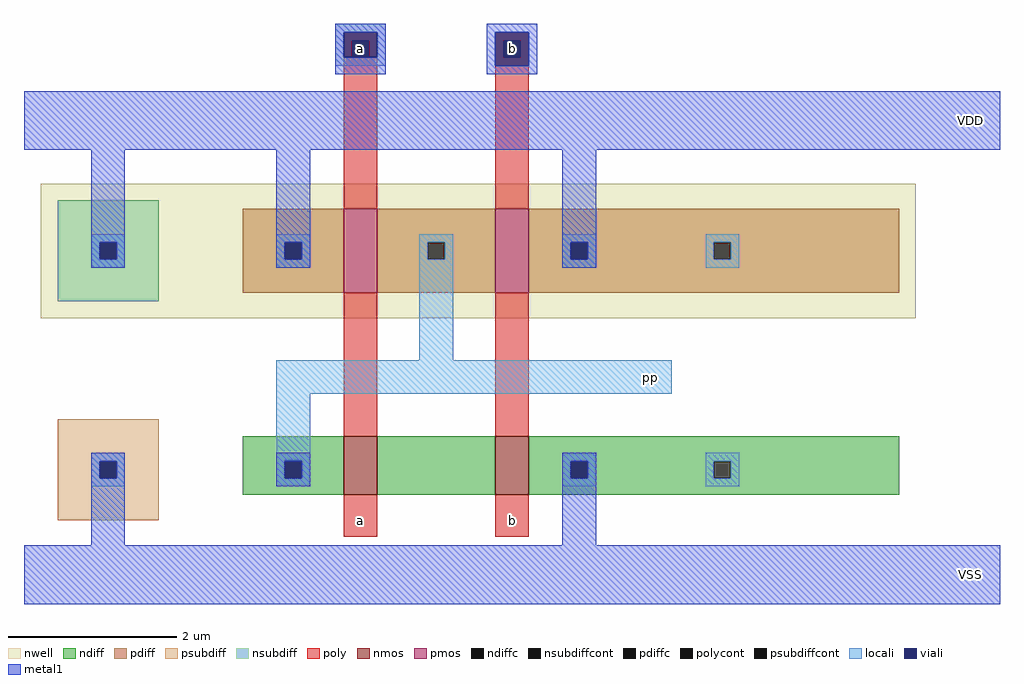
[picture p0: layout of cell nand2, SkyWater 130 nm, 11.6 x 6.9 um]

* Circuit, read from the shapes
.subckt nand2 VDD VSS a b
XM1 n1 a pp VSS sky130_fd_pr__nfet_01v8 w=0.7 l=0.4
XM2 VSS b n1 VSS sky130_fd_pr__nfet_01v8 w=0.7 l=0.4
XM3 pp a VDD VDD sky130_fd_pr__pfet_01v8 w=1 l=0.4
XM4 VDD b pp VDD sky130_fd_pr__pfet_01v8 w=1 l=0.4
.ends

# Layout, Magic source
magic
tech sky130A
<< nwell >>
rect -280 30 760 190
<< nmos >>
rect 80 -180 120 -110
rect 260 -180 300 -110
<< pmos >>
rect 80 60 120 160
rect 260 60 300 160
<< ndiff >>
rect -40 -139 80 -110
rect -40 -160 10 -139
rect 30 -160 80 -139
rect -40 -180 80 -160
rect 120 -180 260 -110
rect 300 -140 740 -110
rect 300 -160 350 -140
rect 370 -160 520 -140
rect 540 -160 740 -140
rect 300 -180 740 -160
<< pdiff >>
rect -40 120 80 160
rect -40 100 10 120
rect 30 100 80 120
rect -40 60 80 100
rect 120 120 260 160
rect 120 100 180 120
rect 200 100 260 120
rect 120 60 260 100
rect 300 120 740 160
rect 300 100 350 120
rect 370 100 520 120
rect 540 100 740 120
rect 300 60 740 100
<< ndiffc >>
rect 10 -160 30 -139
rect 350 -160 370 -140
rect 520 -160 540 -140
<< pdiffc >>
rect 10 100 30 120
rect 180 100 200 120
rect 350 100 370 120
rect 520 100 540 120
<< psubdiff >>
rect -260 -140 -140 -90
rect -260 -160 -210 -140
rect -190 -160 -140 -140
rect -260 -210 -140 -160
<< nsubdiff >>
rect -260 120 -140 170
rect -260 100 -210 120
rect -190 100 -140 120
rect -260 50 -140 100
<< psubdiffcont >>
rect -210 -160 -190 -140
<< nsubdiffcont >>
rect -210 100 -190 120
<< poly >>
rect 80 360 120 370
rect 80 340 90 360
rect 110 340 120 360
rect 80 160 120 340
rect 260 360 300 370
rect 260 340 270 360
rect 290 340 300 360
rect 260 160 300 340
rect 80 -110 120 60
rect 260 -110 300 60
rect 80 -230 120 -180
rect 260 -230 300 -180
<< polycont >>
rect 90 340 110 360
rect 270 340 290 360
<< locali >>
rect 70 370 130 380
rect 70 340 80 370
rect 120 340 130 370
rect 70 330 130 340
rect -220 120 -180 130
rect -220 100 -210 120
rect -190 100 -180 120
rect -220 90 -180 100
rect 0 120 40 130
rect 0 100 10 120
rect 30 100 40 120
rect 0 90 40 100
rect 170 120 210 130
rect 170 100 180 120
rect 200 100 210 120
rect 170 -20 210 100
rect 340 120 380 130
rect 340 100 350 120
rect 370 100 380 120
rect 340 90 380 100
rect 510 120 550 130
rect 510 100 520 120
rect 540 100 550 120
rect 510 90 550 100
rect 0 -60 470 -20
rect -220 -140 -180 -130
rect -220 -160 -210 -140
rect -190 -160 -180 -140
rect -220 -170 -180 -160
rect 0 -139 40 -60
rect 0 -160 10 -139
rect 30 -160 40 -139
rect 0 -170 40 -160
rect 340 -140 380 -130
rect 340 -160 350 -140
rect 370 -160 380 -140
rect 340 -170 380 -160
rect 510 -140 550 -130
rect 510 -160 520 -140
rect 540 -160 550 -140
rect 510 -170 550 -160
<< viali >>
rect 80 360 120 370
rect 80 340 90 360
rect 90 340 110 360
rect 110 340 120 360
rect 260 360 300 370
rect 260 340 270 360
rect 270 340 290 360
rect 290 340 300 360
rect 260 330 300 340
rect -210 100 -190 120
rect 10 100 30 120
rect 350 100 370 120
rect -210 -160 -190 -140
rect 10 -160 30 -140
rect 350 -160 370 -140
<< metal1 >>
rect 70 370 130 380
rect 70 340 80 370
rect 120 340 130 370
rect 70 320 130 340
rect 250 370 310 380
rect 250 330 260 370
rect 300 330 310 370
rect 250 320 310 330
rect -300 230 860 300
rect -220 120 -180 230
rect -220 100 -210 120
rect -190 100 -180 120
rect -220 90 -180 100
rect 0 120 40 230
rect 0 100 10 120
rect 30 100 40 120
rect 0 90 40 100
rect 340 120 380 230
rect 340 100 350 120
rect 370 100 380 120
rect 340 90 380 100
rect -220 -140 -180 -130
rect -220 -160 -210 -140
rect -190 -160 -180 -140
rect -220 -240 -180 -160
rect 0 -140 40 -130
rect 0 -160 10 -140
rect 30 -160 40 -140
rect 0 -170 40 -160
rect 340 -140 380 -130
rect 340 -160 350 -140
rect 370 -160 380 -140
rect 340 -240 380 -160
rect -300 -310 860 -240
<< labels >>
flabel metal1 810 250 840 280 0 FreeSans 80 0 0 0 VDD
port 1 nsew
flabel metal1 810 -290 840 -260 0 FreeSans 80 0 0 0 VSS
port 2 nsew
flabel poly 90 -220 110 -200 0 FreeSans 80 0 0 0 a
port 3 nsew
flabel poly 270 -220 290 -200 0 FreeSans 80 0 0 0 b
port 4 nsew
flabel locali 430 -50 460 -30 0 FreeSans 72 0 0 0 pp
flabel metal1 260 330 300 370 0 FreeSans 72 0 0 0 b
flabel metal1 80 330 120 370 0 FreeSans 72 0 0 0 a
<< end >>
